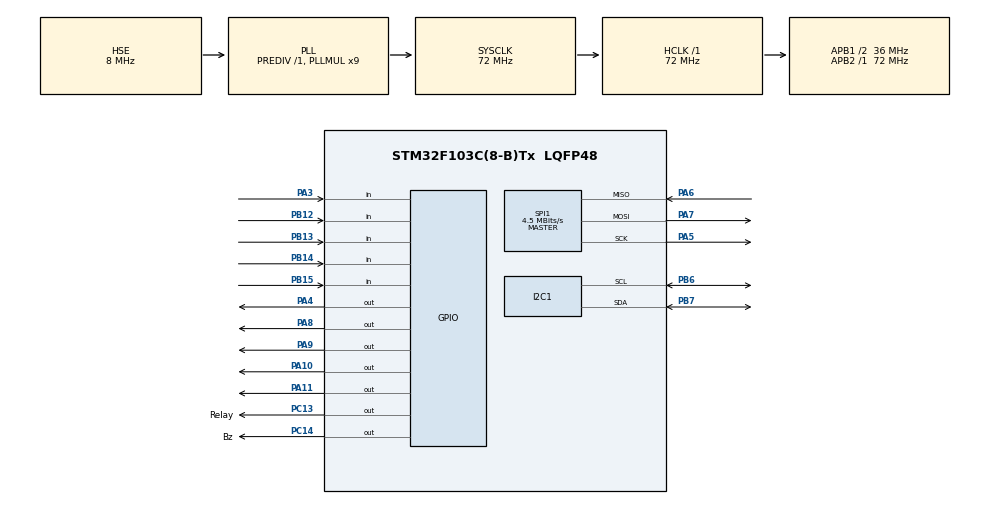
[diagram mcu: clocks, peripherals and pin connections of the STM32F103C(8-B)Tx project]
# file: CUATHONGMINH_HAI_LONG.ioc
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Mcu.Family=STM32F1
Mcu.Name=STM32F103C(8-B)Tx
Mcu.Package=LQFP48
NVIC.PriorityGroup=NVIC_PRIORITYGROUP_4
PA10.Signal=GPIO_Output
PA11.Signal=GPIO_Output
PA13.Mode=Serial_Wire
PA13.Signal=SYS_JTMS-SWDIO
PA14.Mode=Serial_Wire
PA14.Signal=SYS_JTCK-SWCLK
PA3.GPIO_PuPd=GPIO_PULLUP
PA3.Signal=GPIO_Input
PA4.Signal=GPIO_Output
PA5.Mode=Full_Duplex_Master
PA5.Signal=SPI1_SCK
PA6.Mode=Full_Duplex_Master
PA6.Signal=SPI1_MISO
PA7.Mode=Full_Duplex_Master
PA7.Signal=SPI1_MOSI
PA8.Signal=GPIO_Output
PA9.Signal=GPIO_Output
PB12.Signal=GPIO_Input
PB13.Signal=GPIO_Input
PB14.Signal=GPIO_Input
PB15.Signal=GPIO_Input
PB6.Mode=I2C
PB6.Signal=I2C1_SCL
PB7.Mode=I2C
PB7.Signal=I2C1_SDA
PC13-TAMPER-RTC.GPIO_Label=Relay
PC13-TAMPER-RTC.Signal=GPIO_Output
PC14-OSC32_IN.GPIO_Label=Bz
PC14-OSC32_IN.Signal=GPIO_Output
PD0-OSC_IN.Mode=HSE-External-Oscillator
PD0-OSC_IN.Signal=RCC_OSC_IN
PD1-OSC_OUT.Mode=HSE-External-Oscillator
PD1-OSC_OUT.Signal=RCC_OSC_OUT
ProjectManager.HeapSize=0x200
ProjectManager.StackSize=0x400
ProjectManager.TargetToolchain=MDK-ARM V5.27
RCC.AHBFreq_Value=72000000
RCC.APB1CLKDivider=RCC_HCLK_DIV2
RCC.APB1Freq_Value=36000000
RCC.APB1TimFreq_Value=72000000
RCC.APB2Freq_Value=72000000
RCC.APB2TimFreq_Value=72000000
RCC.HCLKFreq_Value=72000000
RCC.PLLMUL=RCC_PLL_MUL9
RCC.PLLSourceVirtual=RCC_PLLSOURCE_HSE
RCC.SYSCLKFreq_VALUE=72000000
RCC.SYSCLKSource=RCC_SYSCLKSOURCE_PLLCLK
RCC.USBFreq_Value=72000000
SPI1.BaudRatePrescaler=SPI_BAUDRATEPRESCALER_16
SPI1.CalculateBaudRate=4.5 MBits/s
SPI1.Direction=SPI_DIRECTION_2LINES
SPI1.Mode=SPI_MODE_MASTER
SPI1.VirtualType=VM_MASTER
board=custom

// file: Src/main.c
/* USER CODE BEGIN Header */
/**
  ******************************************************************************
  * @file           : main.c
  * @brief          : Main program body
  ******************************************************************************
  * @attention
  *
  * <h2><center>&copy; Copyright (c) 2020 STMicroelectronics.
  * All rights reserved.</center></h2>
  *
  * This software component is licensed by ST under BSD 3-Clause license,
  * the "License"; You may not use this file except in compliance with the
  * License. You may obtain a copy of the License at:
  *                        opensource.org/licenses/BSD-3-Clause
  *
  ******************************************************************************
  */
/* USER CODE END Header */

#include "main.h"

/* USER CODE BEGIN Includes */
#include "rc522.h"
#include "lcd_i2c.h"
#include "keypad_4x4.h"
#include "stdio.h"
/* USER CODE END Includes */

I2C_HandleTypeDef hi2c1;

SPI_HandleTypeDef hspi1;

/* USER CODE BEGIN PV */
char Name[4][20]={"PNSINH","NQNGHIA","NTHIEU"};
char key_val,buffer[20];
char MATKHAU[4] = {'1', '1', '1', '1'}; // Cài d?t m?t kh?u tùy ý
char NHAPNHATKHAU[4] = {' ', ' ', ' ', ' '};
int i,count=0,TT=0,canhbaokey=0,canhbaobz=0;
/* USER CODE END PV */

void SystemClock_Config(void);
static void MX_GPIO_Init(void);
static void MX_I2C1_Init(void);
static void MX_SPI1_Init(void);

/* USER CODE BEGIN 0 */
uint8_t		str[MFRC522_MAX_LEN];

void BUZZER(int dl)		// BUZZER CHUYEN CHE DO
{
		HAL_GPIO_WritePin(GPIOC,GPIO_PIN_14,GPIO_PIN_SET);
		HAL_Delay(dl);
		HAL_GPIO_WritePin(GPIOC,GPIO_PIN_14,GPIO_PIN_RESET);
}
 void chongdoi_bt()
 {
	if (HAL_GPIO_ReadPin(GPIOA,GPIO_PIN_3) == 0)
	{
		HAL_Delay(20);
		if (HAL_GPIO_ReadPin(GPIOA,GPIO_PIN_3) == 0)
		{
				TT ++;
				if (TT == 4) TT = 0;
//				HAL_GPIO_TogglePin(GPIOC,GPIO_PIN_13);
//				HAL_Delay(1000);
				while(HAL_GPIO_ReadPin(GPIOA,GPIO_PIN_3) == 0);
		}
	}
 }
/* USER CODE END 0 */

int main(void)
{

  /* MCU Configuration--------------------------------------------------------*/

  /* Reset of all peripherals, Initializes the Flash interface and the Systick. */
  HAL_Init();

  /* Configure the system clock */
  SystemClock_Config();

  /* Initialize all configured peripherals */
  MX_GPIO_Init();
  MX_I2C1_Init();
  MX_SPI1_Init();
  /* USER CODE BEGIN 2 */
	MFRC522_Init();
	keypad_init();
  lcd_init ();
	lcd_clear_display ();
	HAL_Delay(50);
	HAL_GPIO_WritePin(GPIOC,GPIO_PIN_13,GPIO_PIN_RESET);
	lcd_goto_XY (1, 0);
  lcd_send_string(" __SMART DOOR__ ");
  lcd_goto_XY(2,0);
	lcd_send_string("  __HAI LONG__  ");
	HAL_Delay(2000);
  /* USER CODE END 2 */

  /* Infinite loop */
  /* USER CODE BEGIN WHILE */
  while (1)
  {
	chongdoi_bt();
	key_val = keypad_get_key_value();

	if( TT == 0)
	{
	lcd_goto_XY (1, 0);
  lcd_send_string("MODE:_PRESS BT_ ");
	lcd_goto_XY (2, 0);
	lcd_send_string("                ");
	}

	if( TT == 1 )
	{

	lcd_goto_XY (1, 5);
  lcd_send_string("__KEYPAD__");
	lcd_goto_XY (2, 0);
	lcd_send_string("PW: ");
	if (key_val != 0X20 ) // NHAP MAT KHAU
  {
//				lcd_goto_XY (2, 0);
//				sprintf(buffer,"so:%c",key_val);
//				lcd_send_string(buffer);
    if (i == 0)
		{
				NHAPNHATKHAU[0] = key_val;
				lcd_goto_XY (2, 4);
				lcd_send_data(NHAPNHATKHAU[0]);
				HAL_Delay(500);
				lcd_goto_XY (2, 4);
				lcd_send_string("*");
    }
    if (i == 1)
		{
      NHAPNHATKHAU[1] = key_val;
			lcd_goto_XY (2, 5);
			lcd_send_data(NHAPNHATKHAU[1]);
			HAL_Delay(500);
			lcd_goto_XY (2, 5);
			lcd_send_string("*");

    }
    if (i == 2)
		{
      NHAPNHATKHAU[2] = key_val;
			lcd_goto_XY (2, 6);
			lcd_send_data(NHAPNHATKHAU[2]);
			HAL_Delay(500);
			lcd_goto_XY (2, 6);
			lcd_send_string("*");

    }
    if (i == 3)
		{
      NHAPNHATKHAU[3] = key_val;
			lcd_goto_XY (2, 7);
			lcd_send_data(NHAPNHATKHAU[3]);
			HAL_Delay(500);
			lcd_goto_XY (2, 7);
			lcd_send_string("*");
      count = 1;
    }
    i = i + 1;
	}

	if (count == 1)
	{
    if (NHAPNHATKHAU[0] == MATKHAU[0] && NHAPNHATKHAU[1] == MATKHAU[1] && NHAPNHATKHAU[2] == MATKHAU[2] && NHAPNHATKHAU[3] == MATKHAU[3])
		{

			lcd_goto_XY(2,10);
      lcd_send_string("OK   ");
      HAL_Delay(2000);
			lcd_goto_XY(2,10);
      lcd_send_string("OPEN ");

			HAL_GPIO_WritePin(GPIOC,GPIO_PIN_13,GPIO_PIN_SET);
			HAL_Delay(2000);
			lcd_goto_XY(2,4);
			lcd_send_string("            ");
      i = 0;
      count = 0;
    } else {
			canhbaokey++;
			if(canhbaokey == 3)
			{
			BUZZER(3000);
			}
		  lcd_goto_XY(2,10);
      lcd_send_string("ERROR");
      HAL_Delay(2000);
			lcd_goto_XY(2,10);
			lcd_send_string("RETRY");
			HAL_Delay(2000);
			lcd_goto_XY(2,4);
			lcd_send_string("            ");
      i = 0;
      count = 0;
    }
	}
//		switch (key_val) // DONG CUA
//		{
//		case 'D':
//		HAL_GPIO_WritePin(GPIOC,GPIO_PIN_13,GPIO_PIN_SET);
//		lcd_goto_XY(2,10);
//		lcd_send_string("CLOSE");
//    HAL_Delay(2000);
//		lcd_goto_XY(2,10);
//		lcd_send_string("ENTER");
//		lcd_goto_XY(2,4);
//		lcd_send_string("            ");
//		i = 1;
//		break;
//		}
	}
	if( TT == 2)
	{
	lcd_goto_XY (1, 5);
  lcd_send_string(" __RFID__ ");
		if (!MFRC522_Request(PICC_REQIDL, str))
			{
					if (!MFRC522_Anticoll(str))
						{
							//SINH
								if((str[0] == 0XD4) && (str[1] == 0XFA) && (str[2] == 0X34) && (str[3] == 0X2A) && (str[4] == 0X30))
								{
										lcd_goto_XY (2, 0);
										sprintf(buffer,"  %s  ",Name[0]);
										lcd_send_string(buffer);

										lcd_goto_XY(2,10);
										lcd_send_string("OPEN ");
										HAL_GPIO_WritePin(GPIOC,GPIO_PIN_13,GPIO_PIN_SET);
										HAL_Delay(2000);
										lcd_goto_XY(2,0);
										lcd_send_string("                 ");
//										HAL_GPIO_TogglePin(GPIOC,GPIO_PIN_13);
//										HAL_Delay(1000);
								} else

								if((str[0] == 0XA9) && (str[1] == 0XA1) && (str[2] == 0XEF) && (str[3] == 0X6E) && (str[4] == 0X89))
								{
										lcd_goto_XY (2, 0);
										sprintf(buffer,"  %s  ",Name[1]);
										lcd_send_string(buffer);

										lcd_goto_XY(2,10);
										lcd_send_string("OPEN ");
										HAL_GPIO_WritePin(GPIOC,GPIO_PIN_13,GPIO_PIN_SET);
										HAL_Delay(2000);
										lcd_goto_XY(2,0);
										lcd_send_string("                 ");
								} else
								if((str[0] == 0XA0) && (str[1] == 0X22) && (str[2] == 0X95) && (str[3] == 0X32) && (str[4] == 0X25))
								{
										lcd_goto_XY (2, 0);
										sprintf(buffer,"  %s  ",Name[2]);
										lcd_send_string(buffer);

										lcd_goto_XY(2,10);
										lcd_send_string("OPEN ");
										HAL_GPIO_WritePin(GPIOC,GPIO_PIN_13,GPIO_PIN_SET);
										HAL_Delay(2000);
										lcd_goto_XY(2,0);
										lcd_send_string("                 ");
								}
								else
								{
//										canhbaobz++;
//										if(canhbaobz == 3)
//										{
//										BUZZER(3000);
//										}
										lcd_goto_XY(2,0);
										lcd_send_string("  CARD ERROR  ");
										HAL_Delay(1000);
										lcd_goto_XY(2,0);
										lcd_send_string("                 ");
								}
						}
			}
	}
	if(TT == 3)
	{
	HAL_GPIO_WritePin(GPIOC,GPIO_PIN_13,GPIO_PIN_RESET);
	lcd_goto_XY (1, 5);
  lcd_send_string(" GOOD BYE!");
	lcd_goto_XY(2,10);
  lcd_send_string("CLOSE");
//	HAL_Delay(2000);
	}
    /* USER CODE END WHILE */

  }
}

void SystemClock_Config(void)
{
  RCC_OscInitTypeDef RCC_OscInitStruct = {0};
  RCC_ClkInitTypeDef RCC_ClkInitStruct = {0};

  /** Initializes the CPU, AHB and APB busses clocks
  */
  RCC_OscInitStruct.OscillatorType = RCC_OSCILLATORTYPE_HSE;
  RCC_OscInitStruct.HSEState = RCC_HSE_ON;
  RCC_OscInitStruct.HSEPredivValue = RCC_HSE_PREDIV_DIV1;
  RCC_OscInitStruct.HSIState = RCC_HSI_ON;
  RCC_OscInitStruct.PLL.PLLState = RCC_PLL_ON;
  RCC_OscInitStruct.PLL.PLLSource = RCC_PLLSOURCE_HSE;
  RCC_OscInitStruct.PLL.PLLMUL = RCC_PLL_MUL9;
  if (HAL_RCC_OscConfig(&RCC_OscInitStruct) != HAL_OK)
  {
    Error_Handler();
  }
  /** Initializes the CPU, AHB and APB busses clocks
  */
  RCC_ClkInitStruct.ClockType = RCC_CLOCKTYPE_HCLK|RCC_CLOCKTYPE_SYSCLK
                              |RCC_CLOCKTYPE_PCLK1|RCC_CLOCKTYPE_PCLK2;
  RCC_ClkInitStruct.SYSCLKSource = RCC_SYSCLKSOURCE_PLLCLK;
  RCC_ClkInitStruct.AHBCLKDivider = RCC_SYSCLK_DIV1;
  RCC_ClkInitStruct.APB1CLKDivider = RCC_HCLK_DIV2;
  RCC_ClkInitStruct.APB2CLKDivider = RCC_HCLK_DIV1;

  if (HAL_RCC_ClockConfig(&RCC_ClkInitStruct, FLASH_LATENCY_2) != HAL_OK)
  {
    Error_Handler();
  }
}

static void MX_I2C1_Init(void)
{

  hi2c1.Instance = I2C1;
  hi2c1.Init.ClockSpeed = 100000;
  hi2c1.Init.DutyCycle = I2C_DUTYCYCLE_2;
  hi2c1.Init.OwnAddress1 = 0;
  hi2c1.Init.AddressingMode = I2C_ADDRESSINGMODE_7BIT;
  hi2c1.Init.DualAddressMode = I2C_DUALADDRESS_DISABLE;
  hi2c1.Init.OwnAddress2 = 0;
  hi2c1.Init.GeneralCallMode = I2C_GENERALCALL_DISABLE;
  hi2c1.Init.NoStretchMode = I2C_NOSTRETCH_DISABLE;
  if (HAL_I2C_Init(&hi2c1) != HAL_OK)
  {
    Error_Handler();
  }

}

static void MX_SPI1_Init(void)
{

  /* SPI1 parameter configuration*/
  hspi1.Instance = SPI1;
  hspi1.Init.Mode = SPI_MODE_MASTER;
  hspi1.Init.Direction = SPI_DIRECTION_2LINES;
  hspi1.Init.DataSize = SPI_DATASIZE_8BIT;
  hspi1.Init.CLKPolarity = SPI_POLARITY_LOW;
  hspi1.Init.CLKPhase = SPI_PHASE_1EDGE;
  hspi1.Init.NSS = SPI_NSS_SOFT;
  hspi1.Init.BaudRatePrescaler = SPI_BAUDRATEPRESCALER_16;
  hspi1.Init.FirstBit = SPI_FIRSTBIT_MSB;
  hspi1.Init.TIMode = SPI_TIMODE_DISABLE;
  hspi1.Init.CRCCalculation = SPI_CRCCALCULATION_DISABLE;
  hspi1.Init.CRCPolynomial = 10;
  if (HAL_SPI_Init(&hspi1) != HAL_OK)
  {
    Error_Handler();
  }

}

static void MX_GPIO_Init(void)
{
  GPIO_InitTypeDef GPIO_InitStruct = {0};

  /* GPIO Ports Clock Enable */
  __HAL_RCC_GPIOC_CLK_ENABLE();
  __HAL_RCC_GPIOD_CLK_ENABLE();
  __HAL_RCC_GPIOA_CLK_ENABLE();
  __HAL_RCC_GPIOB_CLK_ENABLE();

  /*Configure GPIO pin Output Level */
  HAL_GPIO_WritePin(GPIOC, Relay_Pin|Bz_Pin, GPIO_PIN_RESET);

  /*Configure GPIO pin Output Level */
  HAL_GPIO_WritePin(GPIOA, GPIO_PIN_4|GPIO_PIN_8|GPIO_PIN_9|GPIO_PIN_10
                          |GPIO_PIN_11, GPIO_PIN_RESET);

  /*Configure GPIO pins : Relay_Pin Bz_Pin */
  GPIO_InitStruct.Pin = Relay_Pin|Bz_Pin;
  GPIO_InitStruct.Mode = GPIO_MODE_OUTPUT_PP;
  GPIO_InitStruct.Pull = GPIO_NOPULL;
  GPIO_InitStruct.Speed = GPIO_SPEED_FREQ_LOW;
  HAL_GPIO_Init(GPIOC, &GPIO_InitStruct);

  /*Configure GPIO pin : PA3 */
  GPIO_InitStruct.Pin = GPIO_PIN_3;
  GPIO_InitStruct.Mode = GPIO_MODE_INPUT;
  GPIO_InitStruct.Pull = GPIO_PULLUP;
  HAL_GPIO_Init(GPIOA, &GPIO_InitStruct);

  /*Configure GPIO pins : PA4 PA8 PA9 PA10
                           PA11 */
  GPIO_InitStruct.Pin = GPIO_PIN_4|GPIO_PIN_8|GPIO_PIN_9|GPIO_PIN_10
                          |GPIO_PIN_11;
  GPIO_InitStruct.Mode = GPIO_MODE_OUTPUT_PP;
  GPIO_InitStruct.Pull = GPIO_NOPULL;
  GPIO_InitStruct.Speed = GPIO_SPEED_FREQ_LOW;
  HAL_GPIO_Init(GPIOA, &GPIO_InitStruct);

  /*Configure GPIO pins : PB12 PB13 PB14 PB15 */
  GPIO_InitStruct.Pin = GPIO_PIN_12|GPIO_PIN_13|GPIO_PIN_14|GPIO_PIN_15;
  GPIO_InitStruct.Mode = GPIO_MODE_INPUT;
  GPIO_InitStruct.Pull = GPIO_NOPULL;
  HAL_GPIO_Init(GPIOB, &GPIO_InitStruct);

}

void Error_Handler(void)
{
}

/************************ (C) COPYRIGHT STMicroelectronics *****END OF FILE****/
